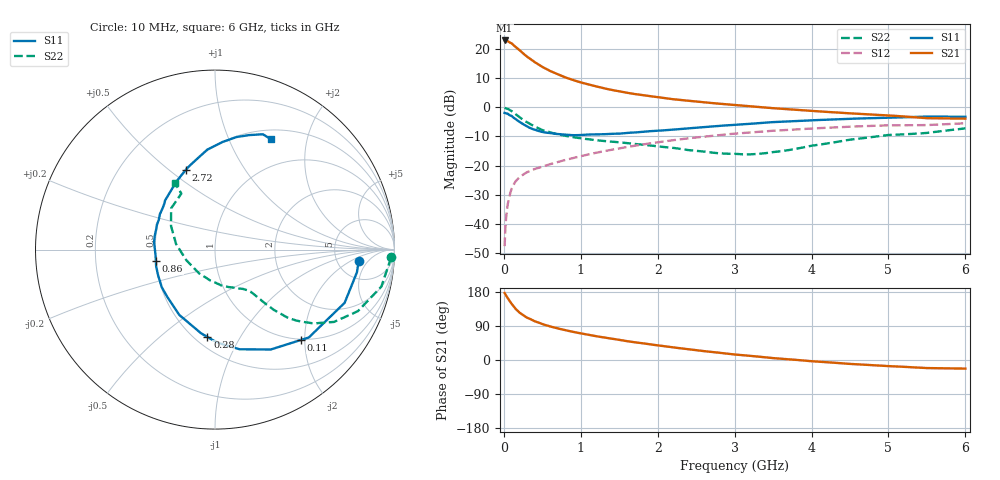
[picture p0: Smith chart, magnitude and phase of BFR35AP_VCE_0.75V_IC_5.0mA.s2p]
! Infineon Technologies  Discrete & RF Semiconductors
! BFR35AP
! VCE = 0.75 V,  IC =  5.0 mA
! Common Emitter S-Parameters:  Nov 2015
# GHz  S  MA  R  50
!  f  S11  S21  S12  S22
! GHz  MAG  ANG  MAG  ANG  MAG  ANG  MAG  ANG
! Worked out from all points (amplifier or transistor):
!   210 points, 10 MHz to 6 GHz, reference 50 ohm
!   highest |S21| = 23.0 dB at 10 MHz (marker M1)
!   |S21| within 3 dB of that: start of sweep to 189.3 MHz
!   unconditionally stable (mu >= 1): 688 MHz to end of sweep
!   at 185 MHz: K = 0.41, MSG = 22.3 dB, |S12| = -24.5 dB
!   at 1.52 GHz: K = 1.19, MAG = 7.1 dB, |S12| = -14.0 dB
!   at 6 GHz: K = 1.05, MAG = -0.6 dB, |S12| = -5.5 dB
!   S11 on the Smith chart (normalised r, x): 10 MHz: 8.09, -2.94; 110 MHz: 0.99, -1.92; 280 MHz: 0.58, -0.74; 860 MHz: 0.50, -0.07; 2.72 GHz: 0.50, +0.57; 6 GHz: 0.62, +1.44
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0.01  0.8034 -4.6  14.19 176.8  0.0041 83.2  0.9827 -2.5
0.025  0.7946 -11.2  13.92 171.5  0.0105 83.1  0.9663 -6.3
0.05  0.7808 -22.3  13.84 163.2  0.0213 78.1  0.9498 -12.5
0.1  0.7163 -43.1  12.69 148.3  0.0396 68.7  0.8671 -23.3
0.11  0.6955 -46.3  12.32 146.0  0.0422 66.7  0.8476 -24.8
0.15  0.6372 -60.9  11.1 135.4  0.0529 60.9  0.7757 -31.3
0.2  0.5717 -76.2  9.794 125.7  0.0623 56.3  0.6869 -36.8
0.24  0.5264 -86.1  8.76 119.6  0.0682 53.8  0.625 -39.9
0.28  0.4885 -95.0  7.895 114.4  0.0738 52.1  0.5772 -42.1
0.3  0.4725 -99.5  7.497 111.8  0.0766 51.5  0.5556 -43.1
0.4  0.4148 -118.7  6.038 102.3  0.087 49.8  0.4695 -45.7
0.5  0.3783 -133.0  4.977 94.6  0.0954 49.8  0.4081 -47.1
0.7  0.3482 -155.4  3.71 83.3  0.115 50.6  0.3459 -48.5
0.86  0.3352 -169.1  3.082 76.0  0.1309 51.1  0.3142 -49.5
1.02  0.3362 178.0  2.648 69.5  0.1468 51.5  0.2919 -51.2
1.4  0.3526 156.4  1.999 56.3  0.1868 50.5  0.2579 -57.5
2.02  0.3984 131.1  1.483 38.1  0.254 45.9  0.212 -73.9
2.72  0.4718 110.3  1.183 20.9  0.3265 38.1  0.1663 -105.7
3.1  0.5115 101.8  1.07 12.8  0.3619 32.9  0.1562 -131.2
4.1  0.6078 84.6  0.854 -4.5  0.4404 19.8  0.2285 167.0
5.1  0.6704 72.3  0.714 -17.0  0.4924 6.4  0.3392 133.4
6  0.6897 63.1  0.641 -22.7  0.5335 -2.9  0.4357 121.1
